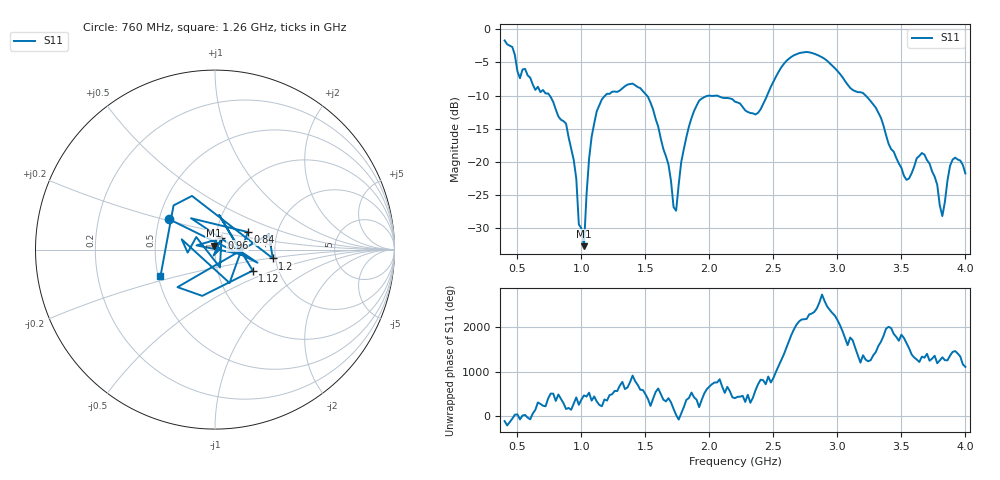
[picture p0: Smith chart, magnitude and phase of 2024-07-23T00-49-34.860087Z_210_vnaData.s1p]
!Created with skrf (http://scikit-rf.org).
# Hz S RI R 50.0
!freq ReS11 ImS11
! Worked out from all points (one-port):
!   181 points, 400 MHz to 4 GHz, reference 50 ohm
!   lowest |S11| = -32.7 dB at 1.02 GHz (marker M1), VSWR 1.05, Z = 49.3 + j2.19 ohm
!   |S11| at or under -10 dB: 751.7 MHz to 1.186 GHz (434.6 MHz wide, 44.9 % of centre); 1.511 GHz to 2.451 GHz (939.5 MHz wide, 47.4 % of centre); 3.22 GHz to end of sweep
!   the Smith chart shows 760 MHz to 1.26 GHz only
!   S11 on the Smith chart (normalised r, x): 760 MHz: 0.56, +0.21; 840 MHz: 1.41, +0.29; 960 MHz: 1.06, +0.14; 1.12 GHz: 1.48, -0.37; 1.2 GHz: 1.94, -0.21; 1.26 GHz: 0.51, -0.17
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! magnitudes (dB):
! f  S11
! 400 MHz  -1.7
! 520 MHz  -7.4
! 760 MHz  -10.2
! 840 MHz  -13.7
! 860 MHz  -13.9
! 960 MHz  -22.5
! 980 MHz  -29.4
! 1.02 GHz  -32.7
! 1.06 GHz  -19.5
! 1.12 GHz  -12.4
! 1.2 GHz  -9.7
! 1.26 GHz  -9.4
! 1.3 GHz  -9.3
! 1.52 GHz  -10.2
! 1.68 GHz  -20.4
! 1.72 GHz  -26.8
! 1.76 GHz  -23.4
! 1.92 GHz  -10.8
! 2.2 GHz  -10.9
! 2.38 GHz  -12.6
! 2.66 GHz  -3.9
! 3.1 GHz  -8.8
! 3.3 GHz  -11.8
! 3.56 GHz  -22.5
! 3.68 GHz  -18.9
! 3.82 GHz  -28.2
! 3.9 GHz  -19.7
! 4 GHz  -21.8
